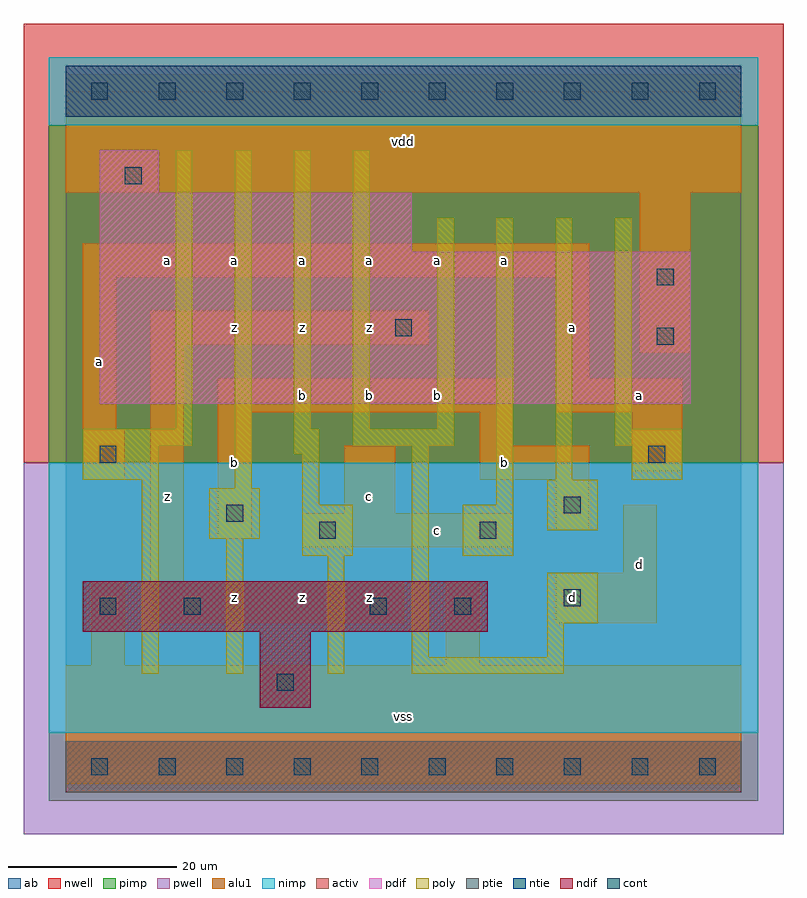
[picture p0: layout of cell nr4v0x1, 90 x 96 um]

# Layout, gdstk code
import gdstk
lib = gdstk.Library(unit=1e-6, precision=1e-09)
def R(c, l, rs):  # rectangles x0, y0, x1, y1
    for r in rs: c.add(gdstk.rectangle(r[:2], r[2:], *l))
def A(c, l, x, y, w, h, nx, ny, dx, dy):  # array of equal rectangles
    R(c, l, [(x+i*dx, y+j*dy, x+i*dx+w, y+j*dy+h) for i in range(nx) for j in range(ny)])
ndif = (3, 0)
pdif = (4, 0)
ntie = (5, 0)
ptie = (6, 0)
cont = (25, 0)
pwell = (41, 0)
nwell = (42, 0)
activ = (43, 0)
pimp = (44, 0)
nimp = (45, 0)
poly = (46, 0)
alu1 = (49, 0)
ab = (63, 0)

nr4v0x1 = lib.new_cell('nr4v0x1')
R(nr4v0x1, ndif, [(23,7,29,16), (2,16,50,22)])
R(nr4v0x1, pdif, [(4,43,74,61), (4,61,41,68), (4,68,11,73)])
R(nr4v0x1, ntie, [(0,77,80,83)])
R(nr4v0x1, ptie, [(0,-3,80,3)])
A(nr4v0x1, cont, 3, -1, 2, 2, 10, 2, 8, 80)
R(nr4v0x1, cont, [(25,9,27,11), (4,18,6,20), (14,18,16,20), (36,18,38,20), (46,18,48,20), (59,19,61,21), (30,27,32,29), (49,27,51,29), (19,29,21,31), (59,30,61,32), (4,36,6,38), (69,36,71,38), (70,50,72,52), (39,51,41,53), (70,57,72,59), (7,69,9,71)])
R(nr4v0x1, pwell, [(-5,-8,85,36)])
R(nr4v0x1, nwell, [(-5,36,85,88)])
R(nr4v0x1, activ, [(0,-3,80,3), (23,7,29,16), (2,16,50,22), (4,43,74,61), (4,61,41,68), (4,68,11,73), (0,77,80,83)])
R(nr4v0x1, pimp, [(-2,-4,82,4), (-2,36,82,76)])
R(nr4v0x1, nimp, [(-2,4,82,36), (-2,76,82,84)])
R(nr4v0x1, poly, [(9,11,11,34), (19,11,21,27), (31,11,33,25), (41,11,59,13), (41,13,43,38), (57,13,59,17), (57,17,63,23), (28,25,34,31), (47,25,53,31), (17,27,23,33), (57,28,63,34), (28,31,30,37), (51,31,53,65), (20,33,22,73), (2,34,11,38), (58,34,60,65), (67,34,73,38), (27,37,30,40), (2,38,15,40), (34,38,46,40), (65,38,73,40), (13,40,15,73), (27,40,29,73), (34,40,36,73), (44,40,46,65), (65,40,67,65)])
R(nr4v0x1, alu1, [(0,-2,80,12), (3,12,7,22), (45,12,49,22), (10,17,40,22), (58,17,70,23), (10,22,14,50), (66,23,70,31), (28,26,53,30), (18,27,22,42), (58,28,62,34), (33,30,39,38), (2,34,7,40), (49,34,62,38), (67,35,73,42), (49,38,53,42), (2,40,6,58), (18,42,53,46), (58,42,73,46), (58,46,62,58), (68,49,74,68), (10,50,43,54), (2,58,62,62), (0,68,80,82)])
R(nr4v0x1, ab, [(0,0,80,80)])
nr4v0x1.add(gdstk.Label('a', (4,48), layer=49, texttype=0))
nr4v0x1.add(gdstk.Label('z', (28,20), layer=49, texttype=0))
nr4v0x1.add(gdstk.Label('z', (20,20), layer=49, texttype=0))
nr4v0x1.add(gdstk.Label('z', (12,32), layer=49, texttype=0))
nr4v0x1.add(gdstk.Label('b', (28,44), layer=49, texttype=0))
nr4v0x1.add(gdstk.Label('b', (20,36), layer=49, texttype=0))
nr4v0x1.add(gdstk.Label('z', (28,52), layer=49, texttype=0))
nr4v0x1.add(gdstk.Label('z', (20,52), layer=49, texttype=0))
nr4v0x1.add(gdstk.Label('a', (12,60), layer=49, texttype=0))
nr4v0x1.add(gdstk.Label('a', (28,60), layer=49, texttype=0))
nr4v0x1.add(gdstk.Label('a', (20,60), layer=49, texttype=0))
nr4v0x1.add(gdstk.Label('vss', (40,6), layer=49, texttype=0))
nr4v0x1.add(gdstk.Label('c', (44,28), layer=49, texttype=0))
nr4v0x1.add(gdstk.Label('z', (36,20), layer=49, texttype=0))
nr4v0x1.add(gdstk.Label('c', (36,32), layer=49, texttype=0))
nr4v0x1.add(gdstk.Label('b', (44,44), layer=49, texttype=0))
nr4v0x1.add(gdstk.Label('b', (36,44), layer=49, texttype=0))
nr4v0x1.add(gdstk.Label('z', (36,52), layer=49, texttype=0))
nr4v0x1.add(gdstk.Label('a', (44,60), layer=49, texttype=0))
nr4v0x1.add(gdstk.Label('a', (36,60), layer=49, texttype=0))
nr4v0x1.add(gdstk.Label('vdd', (40,74), layer=49, texttype=0))
nr4v0x1.add(gdstk.Label('d', (60,20), layer=49, texttype=0))
nr4v0x1.add(gdstk.Label('b', (52,36), layer=49, texttype=0))
nr4v0x1.add(gdstk.Label('a', (60,52), layer=49, texttype=0))
nr4v0x1.add(gdstk.Label('a', (52,60), layer=49, texttype=0))
nr4v0x1.add(gdstk.Label('d', (68,24), layer=49, texttype=0))
nr4v0x1.add(gdstk.Label('a', (68,44), layer=49, texttype=0))

lib.write_gds('nr4v0x1.gds')
